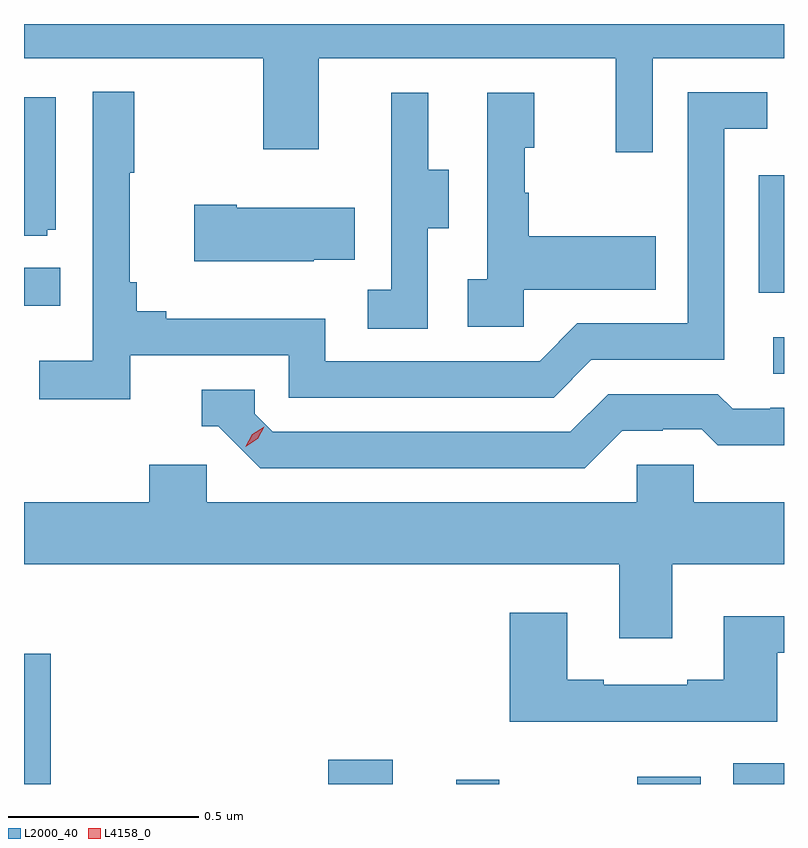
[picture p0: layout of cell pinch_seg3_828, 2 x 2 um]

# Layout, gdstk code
import gdstk
lib = gdstk.Library(unit=1e-6, precision=1e-09)
def R(c, l, rs):  # rectangles x0, y0, x1, y1
    for r in rs: c.add(gdstk.rectangle(r[:2], r[2:], *l))
def P(c, l, *ps):  # polygons
    for p in ps: c.add(gdstk.Polygon(p, *l))
L2000_40 = (2000, 40)
L4158_0 = (4158, 0)

pinch_seg3_828 = lib.new_cell('pinch_seg3_828')
R(pinch_seg3_828, L2000_40, [(854.951,721.65,855.022,721.993), (855.752,721.65,855.922,721.714), (856.089,721.65,856.201,721.661), (856.565,721.65,856.732,721.669), (856.817,721.65,856.951,721.705), (856.923,722.73,856.951,722.826), (854.951,722.909,855.047,723.008), (856.884,722.943,856.951,723.252)])
P(pinch_seg3_828, L2000_40, [(856.605,723.56),(856.951,723.56),(856.951,723.65),(854.951,723.65),(854.951,723.56),(855.58,723.56),(855.58,723.321),(855.727,723.321),(855.727,723.56),(856.508,723.56),(856.508,723.312),(856.605,723.312)],
  [(855.23,722.778),(855.648,722.778),(855.648,722.667),(856.345,722.667),(856.444,722.766),(856.794,722.766),(856.794,723.375),(856.907,723.375),(856.907,723.471),(856.698,723.471),(856.698,722.862),(856.407,722.862),(856.308,722.763),(855.744,722.763),(855.744,722.875),(855.325,722.875),(855.325,722.894),(855.248,722.894),(855.248,722.971),(855.229,722.971),(855.229,723.259),(855.241,723.259),(855.241,723.472),(855.132,723.472),(855.132,722.764),(854.991,722.764),(854.991,722.662),(855.23,722.662)],
  [(856.014,723.112),(856.069,723.112),(856.069,723.267),(856.015,723.267),(856.015,723.469),(855.917,723.469),(855.917,723.255),(855.918,723.255),(855.918,722.951),(855.855,722.951),(855.855,722.848),(856.014,722.848)],
  [(856.266,722.951),(856.613,722.951),(856.613,723.091),(856.279,723.091),(856.279,723.206),(856.269,723.206),(856.269,723.324),(856.294,723.324),(856.294,723.469),(856.17,723.469),(856.17,722.978),(856.119,722.978),(856.119,722.853),(856.266,722.853)],
  [(855.012,723.108),(855.034,723.108),(855.034,723.457),(854.951,723.457),(854.951,723.093),(855.012,723.093)],
  [(855.713,723.029),(855.821,723.029),(855.821,723.166),(855.511,723.166),(855.511,723.174),(855.399,723.174),(855.399,723.026),(855.713,723.026)],
  [(856.525,722.58),(856.632,722.58),(856.632,722.583),(856.735,722.583),(856.777,722.541),(856.951,722.541),(856.951,722.64),(856.915,722.64),(856.915,722.637),(856.816,722.637),(856.777,722.676),(856.488,722.676),(856.389,722.577),(855.606,722.577),(855.558,722.625),(855.558,722.688),(855.419,722.688),(855.419,722.592),(855.462,722.592),(855.573,722.481),(856.426,722.481)],
  [(856.657,722.228),(856.951,722.228),(856.951,722.392),(856.713,722.392),(856.713,722.49),(856.563,722.49),(856.563,722.392),(855.432,722.392),(855.432,722.49),(855.281,722.49),(855.281,722.392),(854.951,722.392),(854.951,722.228),(856.517,722.228),(856.517,722.034),(856.657,722.034)],
  [(856.933,721.995),(856.951,721.995),(856.951,722.092),(856.793,722.092),(856.793,721.924),(856.697,721.924),(856.697,721.911),(856.477,721.911),(856.477,721.924),(856.381,721.924),(856.381,722.101),(856.229,722.101),(856.229,721.814),(856.933,721.814)])
P(pinch_seg3_828, L4158_0, [(855.535,722.538),(855.535,722.539),(855.552,722.571),(855.583,722.59),(855.583,722.59),(855.583,722.59),(855.566,722.558),(855.535,722.538)])

lib.write_gds('pinch_seg3_828.gds')
